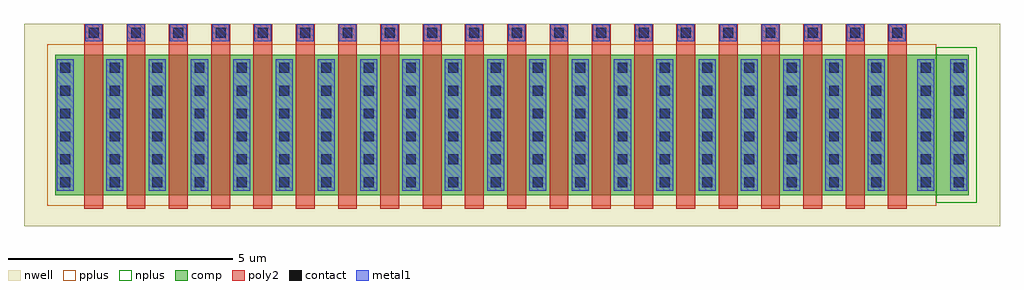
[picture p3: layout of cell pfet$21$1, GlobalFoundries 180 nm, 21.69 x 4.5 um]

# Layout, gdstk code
import gdstk
lib = gdstk.Library(unit=1e-6, precision=5e-09)
def R(c, l, rs):  # rectangles x0, y0, x1, y1
    for r in rs: c.add(gdstk.rectangle(r[:2], r[2:], *l))
def A(c, l, x, y, w, h, nx, ny, dx, dy):  # array of equal rectangles
    R(c, l, [(x+i*dx, y+j*dy, x+i*dx+w, y+j*dy+h) for i in range(nx) for j in range(ny)])
nwell = (21, 0)
comp = (22, 0)
poly2 = (30, 0)
pplus = (31, 0)
nplus = (32, 0)
contact = (33, 0)
metal1 = (34, 0)

pfet_21_1 = lib.new_cell('pfet$21$1')
R(pfet_21_1, nwell, [(-1.15,-0.69,20.54,3.81)])
R(pfet_21_1, comp, [(-0.46,0,0,3.12), (0,0,18.66,3.12), (18.66,0,19.12,3.12), (19.12,0,19.85,3.12)])
A(pfet_21_1, poly2, 0.19, -0.3, 0.42, 3.72, 20, 1, 0.94, 0)
A(pfet_21_1, poly2, 0.19, 3.42, 0.42, 0.38, 20, 1, 0.94, 0)
R(pfet_21_1, pplus, [(-0.63,-0.24,19.12,3.36)])
R(pfet_21_1, nplus, [(19.12,-0.17,20.02,3.29)])
A(pfet_21_1, contact, -0.34, 0.175, 0.22, 0.22, 1, 6, 0, 0.51)
A(pfet_21_1, contact, 0.76, 0.175, 0.22, 0.22, 19, 6, 0.94, 0.51)
A(pfet_21_1, contact, 18.78, 0.175, 0.22, 0.22, 1, 6, 0, 0.51)
A(pfet_21_1, contact, 19.51, 0.175, 0.22, 0.22, 1, 6, 0, 0.51)
A(pfet_21_1, contact, 0.29, 3.5, 0.22, 0.22, 20, 1, 0.94, 0)
A(pfet_21_1, metal1, 0.68, 0.095, 0.38, 2.93, 19, 1, 0.94, 0)
A(pfet_21_1, metal1, 0.21, 3.42, 0.38, 0.38, 20, 1, 0.94, 0)
R(pfet_21_1, metal1, [(-0.42,0.095,-0.04,3.025), (18.7,0.095,19.08,3.025), (19.43,0.095,19.81,3.025)])

lib.write_gds('pfet_21_1.gds')
